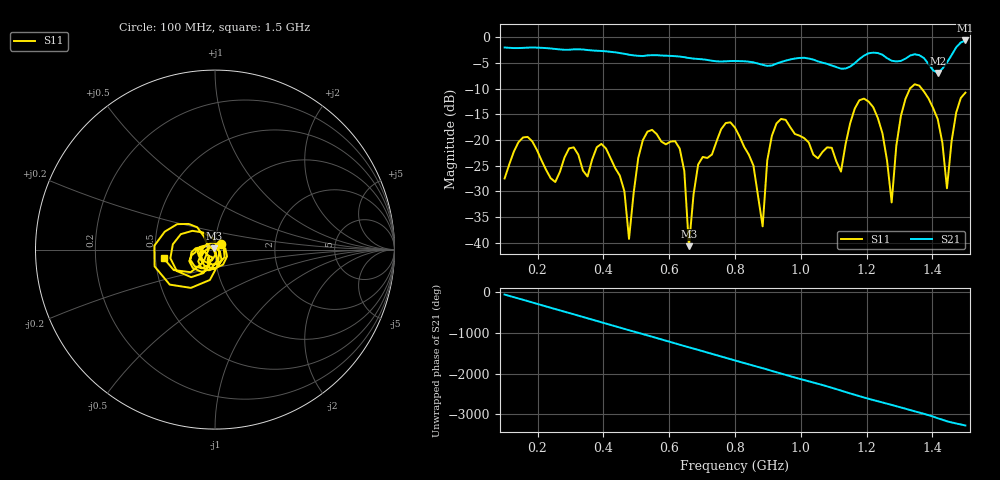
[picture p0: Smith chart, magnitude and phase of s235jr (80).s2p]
! NanoVNA-App
! Date: 2025-09-25 15:04:47
! Start: 100MHz Stop: 1,5GHz Points: 101
! S-Parameter data: F S11 S21 S12 S22
# Hz S RI R 50
!  Frequency  S11_Real  S11_Imag  S21_Real  S21_Imag  S12_Real  S12_Imag  S22_Real  S22_Imag
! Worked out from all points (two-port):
!   101 points, 100 MHz to 1.5 GHz, reference 50 ohm
!   highest |S21| = -0.60 dB at 1.5 GHz (marker M1); lowest = -6.9 dB at 1.416 GHz (marker M2)
!   |S21| within 3 dB of the highest: start of sweep to 509.4 MHz; 523.9 MHz to 601.9 MHz (77.96 MHz wide, 13.9 % of centre) (the widest 2 of 5)
!   lowest |S11| = -40.7 dB at 660 MHz (marker M3), VSWR 1.02, Z = 49.3 + j0.606 ohm
!   |S11| at or under -10 dB: start of sweep to 1.332 GHz; 1.367 GHz to end of sweep
!   S12 and S22 are empty: the file has one direction only
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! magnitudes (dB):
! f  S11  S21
! 100 MHz  -27.5  -2.0
! 170 MHz  -19.4  -2.0
! 338 MHz  -26.0  -2.4
! 408 MHz  -21.6  -2.7
! 478 MHz  -39.2  -3.4
! 520 MHz  -20.0  -3.6
! 576 MHz  -20.3  -3.5
! 632 MHz  -21.7  -3.7
! 660 MHz  -40.7  -4.0
! 688 MHz  -24.8  -4.2
! 800 MHz  -17.6  -4.6
! 884 MHz  -36.8  -5.4
! 926 MHz  -16.8  -5.1
! 1.038 GHz  -22.8  -4.3
! 1.122 GHz  -26.1  -6.1
! 1.192 GHz  -11.9  -3.6
! 1.248 GHz  -18.7  -3.4
! 1.276 GHz  -32.1  -4.6
! 1.332 GHz  -9.9  -3.5
! 1.416 GHz  -15.9  -6.9
! 1.444 GHz  -29.4  -4.9
! 1.5 GHz  -10.8  -0.6
